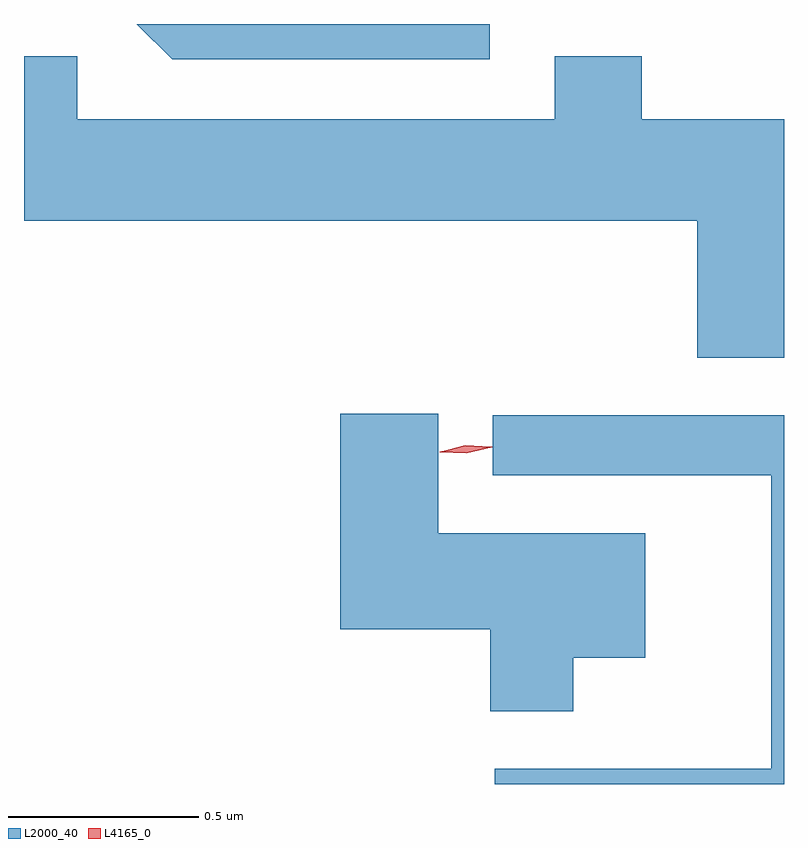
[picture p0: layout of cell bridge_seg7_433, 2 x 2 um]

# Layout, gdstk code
import gdstk
lib = gdstk.Library(unit=1e-6, precision=1e-09)
def P(c, l, *ps):  # polygons
    for p in ps: c.add(gdstk.Polygon(p, *l))
L2000_40 = (2000, 40)
L4165_0 = (4165, 0)

bridge_seg7_433 = lib.new_cell('bridge_seg7_433')
P(bridge_seg7_433, L2000_40, [(1096.629,1719.274),(1095.701,1719.274),(1095.794,1719.181),(1096.629,1719.181)],
  [(1097.404,1719.024),(1097.029,1719.024),(1097.029,1719.189),(1096.801,1719.189),(1096.801,1719.024),(1095.544,1719.024),(1095.544,1719.189),(1095.404,1719.189),(1095.404,1718.756),(1097.176,1718.756),(1097.176,1718.396),(1097.404,1718.396)],
  [(1096.849,1717.606),(1097.039,1717.606),(1097.039,1717.934),(1096.494,1717.934),(1096.494,1718.249),(1096.236,1718.249),(1096.236,1717.681),(1096.631,1717.681),(1096.631,1717.466),(1096.849,1717.466)],
  [(1097.404,1718.244),(1096.638,1718.244),(1096.638,1718.086),(1097.371,1718.086),(1097.371,1717.314),(1096.643,1717.314),(1096.643,1717.274),(1097.404,1717.274)])
P(bridge_seg7_433, L4165_0, [(1096.568,1718.144),(1096.498,1718.147),(1096.498,1718.148),(1096.498,1718.148),(1096.566,1718.164),(1096.636,1718.161),(1096.636,1718.161),(1096.636,1718.16)],
  [(1096.568,1718.145),(1096.501,1718.148),(1096.5,1718.149),(1096.501,1718.149),(1096.565,1718.165),(1096.632,1718.162),(1096.632,1718.161),(1096.632,1718.161)])

lib.write_gds('bridge_seg7_433.gds')
